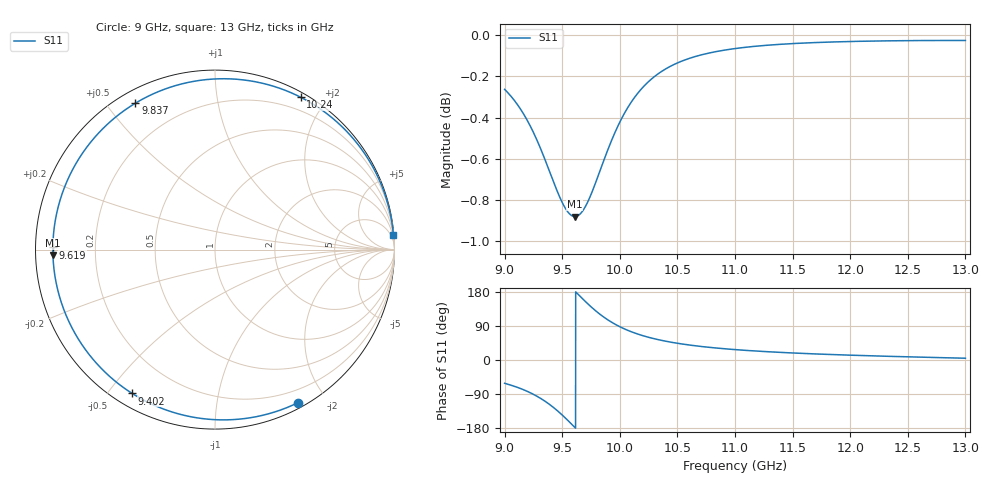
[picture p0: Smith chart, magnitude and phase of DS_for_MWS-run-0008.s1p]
! TOUCHSTONE file generated by CST DESIGN STUDIO
! Date and time: Tue Feb  4 18:19:12 2025
! Project name: C:\Work\MatlabApps\UnitCellOptimizationMatlab\CST\unitcell.cst
! Tree item: Tasks\Sweep1\SPara1\S-Parameters
! Header version: 2024
! Port assignment regex: !\s*Touchstone port\s*([0-9]+)\s*=\s*(CST MWS port|CST DES external port|CST DES block port)\s*(.+)\s* \(\"(.*)\"\)(\s*mode\s*([0-9]+))?.*
! Touchstone port assignment:
! Touchstone port 1 = CST DES external port 1 ("")
# GHz S MA R 50
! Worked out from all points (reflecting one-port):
!   4001 points, 9 GHz to 13 GHz, reference 50 ohm
!   lowest |S11| = -0.9 dB at 9.61 GHz (marker M1), VSWR 19.73, Z = 2.53 - j0.882 ohm
!   phase of S11 starts at -61 deg and turns -294 deg over the sweep
!   S11 on the Smith chart (normalised r, x): 9 GHz: 0.06, -1.68; 9.402 GHz: 0.05, -0.58; 9.619 GHz: 0.05, +0.01; 9.837 GHz: 0.05, +0.59; 10.24 GHz: 0.05, +1.71; 13 GHz: 1, +24
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9  0.9702 -61.5
9.052  0.9667 -66.1
9.124  0.9608 -73.6
9.186  0.9547 -81.3
9.247  0.9475 -90.1
9.33  0.9359 -104.6
9.402  0.9248 -120.0
9.451  0.9173 -132.0
9.5  0.9107 -145.2
9.557  0.9053 -161.8
9.61  0.9035 -178.0
9.619  0.9036 179.3
9.664  0.9054 165.5
9.712  0.9098 151.2
9.775  0.9185 133.8
9.837  0.9284 118.6
9.913  0.9405 102.6
10  0.9526 87.8
10.115  0.9647 72.8
10.241  0.9739 60.6
10.361  0.9799 51.9
10.5  0.9847 44.1
10.72  0.9893 35.2
11  0.9926 27.4
11.5  0.9954 18.5
12  0.9965 12.7
12.5  0.997 8.4
13  0.9971 4.7
